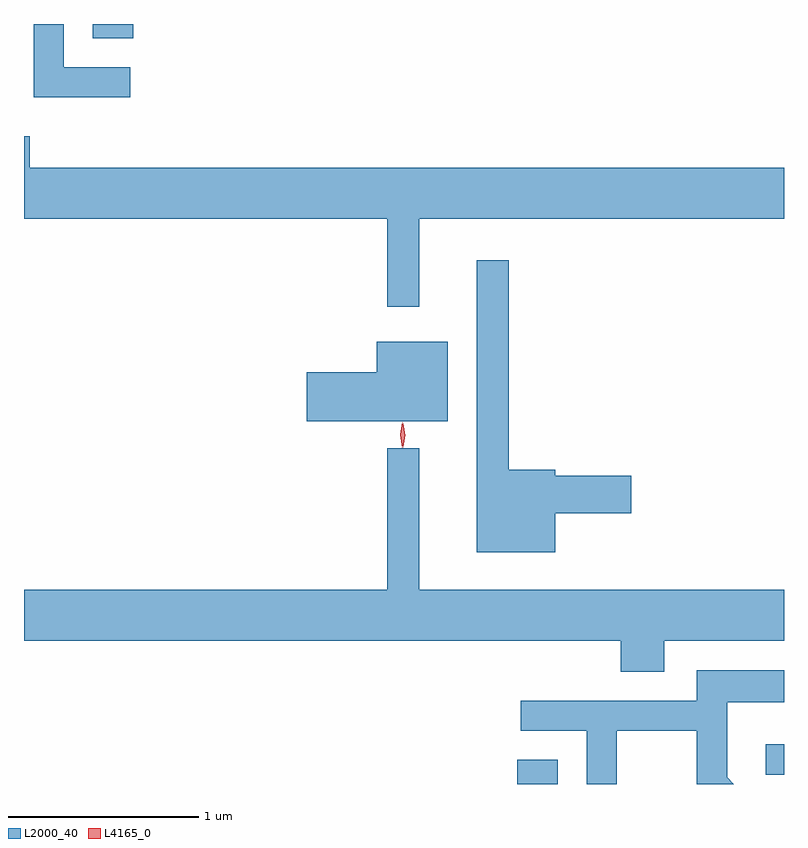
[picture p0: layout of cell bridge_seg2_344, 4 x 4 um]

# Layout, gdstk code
import gdstk
lib = gdstk.Library(unit=1e-6, precision=1e-09)
def R(c, l, rs):  # rectangles x0, y0, x1, y1
    for r in rs: c.add(gdstk.rectangle(r[:2], r[2:], *l))
def P(c, l, *ps):  # polygons
    for p in ps: c.add(gdstk.Polygon(p, *l))
L2000_40 = (2000, 40)
L4165_0 = (4165, 0)

bridge_seg2_344 = lib.new_cell('bridge_seg2_344')
R(bridge_seg2_344, L2000_40, [(305.206,1012.041,305.419,1012.169), (306.513,1012.091,306.609,1012.249), (302.971,1015.966,303.184,1016.041)])
P(bridge_seg2_344, L2000_40, [(303.168,1015.814),(302.819,1015.814),(302.819,1016.041),(302.661,1016.041),(302.661,1015.656),(303.168,1015.656)],
  [(304.689,1015.016),(306.609,1015.016),(306.609,1015.284),(302.639,1015.284),(302.639,1015.449),(302.609,1015.449),(302.609,1015.016),(304.521,1015.016),(304.521,1014.553),(304.689,1014.553)],
  [(305.404,1013.466),(305.804,1013.466),(305.804,1013.664),(305.404,1013.664),(305.404,1013.694),(305.159,1013.694),(305.159,1014.798),(304.991,1014.798),(304.991,1013.261),(305.404,1013.261)],
  [(304.839,1014.369),(304.466,1014.369),(304.466,1014.209),(304.096,1014.209),(304.096,1013.951),(304.839,1013.951)],
  [(305.979,1012.796),(306.609,1012.796),(306.609,1013.064),(304.689,1013.064),(304.689,1013.808),(304.521,1013.808),(304.521,1013.064),(302.609,1013.064),(302.609,1012.796),(305.751,1012.796),(305.751,1012.631),(305.979,1012.631)],
  [(305.729,1012.321),(306.151,1012.321),(306.151,1012.041),(306.345,1012.041),(306.309,1012.077),(306.309,1012.471),(306.609,1012.471),(306.609,1012.639),(306.151,1012.639),(306.151,1012.479),(305.223,1012.479),(305.223,1012.321),(305.571,1012.321),(305.571,1012.041),(305.729,1012.041)])
P(bridge_seg2_344, L4165_0, [(304.604,1013.813),(304.595,1013.876),(304.604,1013.94),(304.605,1013.94),(304.606,1013.94),(304.615,1013.876),(304.606,1013.813),(304.605,1013.813)],
  [(304.6,1013.81),(304.6,1013.81),(304.59,1013.878),(304.599,1013.945),(304.6,1013.946),(304.6,1013.945),(304.61,1013.878),(304.601,1013.81)])

lib.write_gds('bridge_seg2_344.gds')
